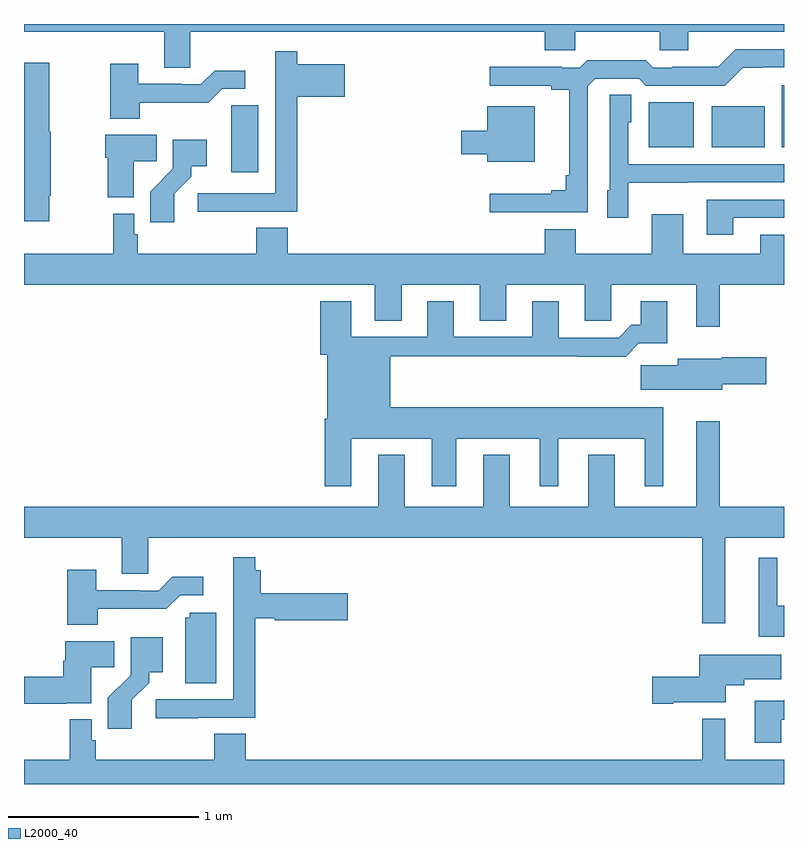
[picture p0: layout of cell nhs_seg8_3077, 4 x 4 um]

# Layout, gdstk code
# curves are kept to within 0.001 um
import gdstk
lib = gdstk.Library(unit=1e-6, precision=1e-09)
def R(c, l, rs):  # rectangles x0, y0, x1, y1
    for r in rs: c.add(gdstk.rectangle(r[:2], r[2:], *l))
def P(c, l, *ps):  # polygons
    for p in ps: c.add(gdstk.Polygon(p, *l))
L2000_40 = (2000, 40)

nhs_seg8_3077 = lib.new_cell('nhs_seg8_3077')
R(nhs_seg8_3077, L2000_40, [(306.287,1089.251,306.526,1089.487), (306.62,1089.251,306.898,1089.466), (306.987,1089.252,307,1089.577)])
P(nhs_seg8_3077, L2000_40, [(303.876,1089.86),(305.741,1089.86),(305.741,1089.762),(305.901,1089.762),(305.901,1089.86),(306.346,1089.86),(306.346,1089.762),(306.496,1089.762),(306.496,1089.86),(307,1089.86),(307,1089.9),(303,1089.9),(303,1089.86),(303.737,1089.86),(303.737,1089.67),(303.876,1089.67)],
  [(305.967,1089.573),(306.006,1089.612),(306.237,1089.612),(306.273,1089.576),(306.687,1089.576),(306.782,1089.671),(307,1089.672),(307,1089.768),(306.747,1089.768),(306.653,1089.674),(306.412,1089.674),(306.412,1089.669),(306.312,1089.669),(306.273,1089.709),(305.965,1089.709),(305.925,1089.669),(305.831,1089.669),(305.831,1089.674),(305.451,1089.674),(305.451,1089.576),(305.774,1089.576),(305.774,1089.554),(305.87,1089.554),(305.87,1089.103),(305.851,1089.103),(305.851,1089.026),(305.774,1089.026),(305.774,1089.007),(305.451,1089.007),(305.451,1088.91),(305.967,1088.91)],
  [(304.139,1088.913),(304.439,1088.913),(304.439,1089.518),(304.687,1089.518),(304.687,1089.688),(304.439,1089.688),(304.439,1089.757),(304.322,1089.757),(304.322,1089.534),(304.323,1089.534),(304.323,1089.009),(303.915,1089.009),(303.915,1088.911),(304.139,1088.911)],
  [(303.132,1088.997),(303.142,1088.997),(303.142,1089.333),(303.132,1089.333),(303.132,1089.697),(303,1089.697),(303,1088.862),(303.132,1088.862)],
  [(303.609,1089.486),(303.971,1089.485),(304.044,1089.558),(304.165,1089.558),(304.165,1089.655),(304.003,1089.655),(303.93,1089.582),(303.83,1089.582),(303.83,1089.585),(303.601,1089.585),(303.601,1089.691),(303.454,1089.691),(303.454,1089.401),(303.609,1089.401)],
  [(306.18,1089.065),(306.497,1089.065),(306.497,1089.066),(307,1089.066),(307,1089.162),(306.18,1089.162),(306.18,1089.384),(306.196,1089.384),(306.196,1089.527),(306.084,1089.527),(306.084,1089.024),(306.071,1089.024),(306.071,1088.88),(306.18,1088.88)],
  [(304.234,1089.473),(304.092,1089.473),(304.092,1089.362),(304.091,1089.362),(304.091,1089.12),(304.234,1089.12)],
  [(305.689,1089.466),(305.438,1089.466),(305.438,1089.337),(305.301,1089.337),(305.301,1089.215),(305.438,1089.215),(305.438,1089.176),(305.689,1089.176)],
  [(303.577,1089.178),(303.698,1089.178),(303.698,1089.316),(303.428,1089.316),(303.428,1089.195),(303.44,1089.195),(303.44,1088.987),(303.577,1088.987)],
  [(303.79,1089.007),(303.88,1089.097),(303.88,1089.152),(303.961,1089.152),(303.961,1089.292),(303.783,1089.292),(303.783,1089.137),(303.664,1089.018),(303.664,1088.856),(303.79,1088.856)],
  [(306.733,1088.88),(307,1088.88),(307,1088.976),(306.593,1088.976),(306.593,1088.79),(306.733,1088.79)],
  [(304.388,1088.828),(304.223,1088.828),(304.223,1088.692),(303.599,1088.692),(303.599,1088.793),(303.579,1088.793),(303.579,1088.902),(303.471,1088.902),(303.471,1088.692),(303,1088.692),(303,1088.528),(304.847,1088.528),(304.847,1088.338),(304.987,1088.338),(304.987,1088.528),(305.399,1088.528),(305.399,1088.338),(305.539,1088.338),(305.539,1088.528),(305.951,1088.528),(305.951,1088.338),(306.09,1088.338),(306.09,1088.528),(306.539,1088.528),(306.539,1088.307),(306.661,1088.307),(306.661,1088.528),(307,1088.528),(307,1088.791),(306.875,1088.791),(306.875,1088.692),(306.469,1088.692),(306.469,1088.899),(306.305,1088.899),(306.305,1088.692),(305.905,1088.692),(305.905,1088.821),(305.741,1088.821),(305.741,1088.692),(304.388,1088.692)],
  [(304.723,1087.718),(305.147,1087.718),(305.147,1087.467),(305.275,1087.467),(305.275,1087.718),(305.714,1087.718),(305.714,1087.467),(305.812,1087.467),(305.812,1087.718),(306.266,1087.718),(306.266,1087.467),(306.364,1087.467),(306.364,1087.882),(304.927,1087.882),(304.927,1088.152),(305.911,1088.152),(305.911,1088.15),(306.167,1088.15),(306.236,1088.219),(306.385,1088.219),(306.385,1088.44),(306.245,1088.44),(306.245,1088.317),(306.196,1088.317),(306.129,1088.25),(305.815,1088.25),(305.815,1088.44),(305.675,1088.44),(305.675,1088.253),(305.263,1088.253),(305.263,1088.44),(305.123,1088.44),(305.123,1088.253),(304.723,1088.253),(304.723,1088.44),(304.559,1088.44),(304.559,1088.16),(304.595,1088.16),(304.595,1087.822),(304.583,1087.822),(304.583,1087.467),(304.723,1087.467)],
  [(306.676,1088.003),(306.907,1088.003),(306.907,1088.145),(306.672,1088.145),(306.672,1088.137),(306.44,1088.137),(306.44,1088.105),(306.246,1088.105),(306.246,1087.976),(306.676,1087.976)],
  [(306.57,1086.747),(306.691,1086.747),(306.691,1087.196),(307,1087.196),(307,1087.36),(306.661,1087.36),(306.661,1087.81),(306.539,1087.81),(306.539,1087.36),(306.109,1087.36),(306.109,1087.633),(305.969,1087.633),(305.969,1087.36),(305.557,1087.36),(305.557,1087.633),(305.417,1087.633),(305.417,1087.36),(305.005,1087.36),(305.005,1087.633),(304.865,1087.633),(304.865,1087.36),(303,1087.36),(303,1087.196),(303.515,1087.196),(303.515,1087.006),(303.654,1087.006),(303.654,1087.196),(306.57,1087.196)],
  [(303.917,1086.249),(304.217,1086.249),(304.217,1086.773),(304.32,1086.773),(304.32,1086.761),(304.705,1086.761),(304.705,1086.903),(304.247,1086.903),(304.247,1087.024),(304.217,1087.024),(304.217,1087.093),(304.101,1087.093),(304.101,1086.345),(303.693,1086.345),(303.693,1086.247),(303.917,1086.247)],
  [(307,1086.838),(306.964,1086.838),(306.964,1087.09),(306.866,1087.09),(306.866,1086.674),(307,1086.674)],
  [(303.387,1086.822),(303.749,1086.822),(303.822,1086.894),(303.943,1086.894),(303.943,1086.991),(303.781,1086.991),(303.708,1086.918),(303.608,1086.918),(303.608,1086.921),(303.379,1086.921),(303.379,1087.027),(303.227,1087.027),(303.227,1086.737),(303.387,1086.737)],
  [(304.012,1086.801),(303.873,1086.801),(303.873,1086.774),(303.848,1086.774),(303.848,1086.43),(304.012,1086.43)],
  [(303.568,1086.343),(303.658,1086.433),(303.658,1086.488),(303.73,1086.488),(303.73,1086.673),(303.563,1086.673),(303.563,1086.624),(303.561,1086.624),(303.561,1086.473),(303.442,1086.354),(303.442,1086.192),(303.568,1086.192)],
  [(303.222,1086.326),(303.355,1086.326),(303.355,1086.514),(303.476,1086.514),(303.476,1086.652),(303.218,1086.652),(303.218,1086.548),(303.206,1086.548),(303.206,1086.464),(303,1086.464),(303,1086.322),(303.222,1086.322)],
  [(306.418,1086.329),(306.694,1086.329),(306.694,1086.419),(306.79,1086.419),(306.79,1086.451),(306.985,1086.451),(306.985,1086.58),(306.554,1086.58),(306.554,1086.464),(306.306,1086.464),(306.306,1086.322),(306.418,1086.322)],
  [(306.985,1086.239),(307,1086.239),(307,1086.343),(306.994,1086.337),(306.845,1086.337),(306.845,1086.117),(306.985,1086.117)],
  [(307,1086.028),(306.691,1086.028),(306.691,1086.244),(306.57,1086.244),(306.57,1086.028),(304.166,1086.028),(304.166,1086.164),(304.001,1086.164),(304.001,1086.028),(303.377,1086.028),(303.377,1086.129),(303.357,1086.129),(303.357,1086.241),(303.241,1086.241),(303.241,1086.028),(303,1086.028),(303,1085.9),(307,1085.9)])

lib.write_gds('nhs_seg8_3077.gds')
